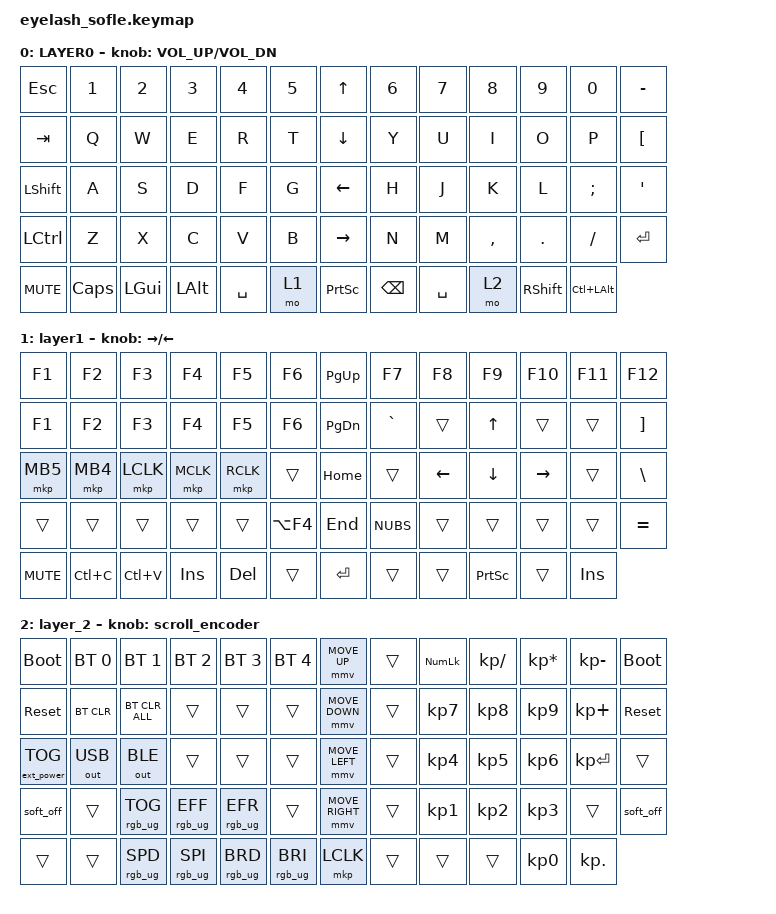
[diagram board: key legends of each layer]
#include <dt-bindings/zmk/mouse.h>
#include <input/processors.dtsi>
#include <behaviors.dtsi>
#include <dt-bindings/zmk/bt.h>
#include <dt-bindings/zmk/ext_power.h>
#include <dt-bindings/zmk/keys.h>
#include <dt-bindings/zmk/outputs.h>
#include <dt-bindings/zmk/pointing.h>
#include <dt-bindings/zmk/pointing.h>
#include <dt-bindings/zmk/pointing.h>
#include <dt-bindings/zmk/rgb.h>

/*

   &mmv_input_listener {
       input-processors = <&zip_xy_scaler 2 1>;
   };

   &msc_input_listener {
       input-processors = <&zip_xy_scaler 2 1>;
   };

 */

#define ZMK_MOUSE_DEFAULT_MOVE_VAL 1200  // 600
#define ZMK_MOUSE_DEFAULT_SCRL_VAL 20    // 10

/ {
    behaviors {
        mmv {
            acceleration-exponent = <1>;      // 1
            time-to-max-speed-ms = <900>;    // 40
            delay-ms = <0>;                   // 0
        };

        msc {
            acceleration-exponent = <1>;      // 0
            time-to-max-speed-ms = <400>;      // 500
            delay-ms = <0>;                   //   10
        };
    };

    scroll_encoder: scroll_encoder {
        compatible = "zmk,behavior-sensor-rotate";
        #sensor-binding-cells = <0>;
        bindings = <&msc SCRL_DOWN>, <&msc SCRL_UP>;

        tap-ms = <30>;
    };

    keymap {
        compatible = "zmk,keymap";

        layer0 {
            bindings = <
&kp ESC         &kp N1        &kp N2        &kp N3        &kp N4     &kp N5    &kp UP_ARROW     &kp N6         &kp N7     &kp N8     &kp N9           &kp N0            &kp MINUS
&kp TAB         &kp Q         &kp W         &kp E         &kp R      &kp T     &kp DOWN_ARROW   &kp Y          &kp U      &kp I      &kp O            &kp P             &kp LEFT_BRACKET
&kp LEFT_SHIFT  &kp A         &kp S         &kp D         &kp F      &kp G     &kp LEFT_ARROW   &kp H          &kp J      &kp K      &kp L            &kp SEMI          &kp APOS
&kp LCTRL       &kp Z         &kp X         &kp C         &kp V      &kp B     &kp RIGHT_ARROW  &kp N          &kp M      &kp COMMA  &kp DOT          &kp FSLH          &kp ENTER
&kp C_MUTE      &kp CAPSLOCK  &kp LEFT_GUI  &kp LEFT_ALT  &kp SPACE  &mo 1     &kp PRINTSCREEN  &kp BACKSPACE  &kp SPACE  &mo 2      &kp RIGHT_SHIFT  &kp LC(LEFT_ALT)
            >;

            sensor-bindings = <&inc_dec_kp C_VOLUME_UP C_VOL_DN>;
            display-name = "LAYER0";
        };

        layer_1 {
            bindings = <
&kp F1      &kp F2     &kp F3     &kp F4      &kp F5      &kp F6        &kp PAGE_UP    &kp F7     &kp F8    &kp F9           &kp F10    &kp F11     &kp F12
&kp F1      &kp F2     &kp F3     &kp F4      &kp F5      &kp F6        &kp PAGE_DOWN  &kp GRAVE  &trans    &kp UP           &trans     &trans      &kp RIGHT_BRACKET
&mkp MB5    &mkp MB4   &mkp LCLK  &mkp MCLK   &mkp RCLK   &trans        &kp HOME       &trans     &kp LEFT  &kp DOWN         &kp RIGHT  &trans      &kp BACKSLASH
&trans      &trans     &trans     &trans      &trans      &kp LA(F4)    &kp END        &kp NUBS   &trans    &trans           &trans     &trans      &kp EQUAL
&kp C_MUTE  &kp LC(C)  &kp LC(V)  &kp INSERT  &kp DELETE  &trans        &kp ENTER      &trans     &trans    &kp PRINTSCREEN  &trans     &kp INSERT
            >;

            display-name = "layer1";
            sensor-bindings = <&inc_dec_kp RIGHT LEFT>;
        };

        layer_2 {
            bindings = <
&bootloader        &bt BT_SEL 0  &bt BT_SEL 1     &bt BT_SEL 2     &bt BT_SEL 3     &bt BT_SEL 4       &mmv MOVE_UP     &trans  &kp KP_NUMLOCK   &kp KP_DIVIDE    &kp KP_ASTERISK  &kp KP_MINUS  &bootloader
&sys_reset         &bt BT_CLR    &bt BT_CLR_ALL   &trans           &trans           &trans             &mmv MOVE_DOWN   &trans  &kp KP_NUMBER_7  &kp KP_NUMBER_8  &kp KP_NUMBER_9  &kp KP_PLUS   &sys_reset
&ext_power EP_TOG  &out OUT_USB  &out OUT_BLE     &trans           &trans           &trans             &mmv MOVE_LEFT   &trans  &kp KP_NUMBER_4  &kp KP_NUMBER_5  &kp KP_NUMBER_6  &kp KP_ENTER  &trans
&soft_off          &trans        &rgb_ug RGB_TOG  &rgb_ug RGB_EFF  &rgb_ug RGB_EFR  &trans             &mmv MOVE_RIGHT  &trans  &kp KP_NUMBER_1  &kp KP_NUMBER_2  &kp KP_NUMBER_3  &trans        &soft_off
&trans             &trans        &rgb_ug RGB_SPD  &rgb_ug RGB_SPI  &rgb_ug RGB_BRD  &rgb_ug RGB_BRI    &mkp LCLK        &trans  &trans           &trans           &kp KP_NUMBER_0  &kp KP_DOT
            >;

            sensor-bindings = <&scroll_encoder>;
        };
    };
};
